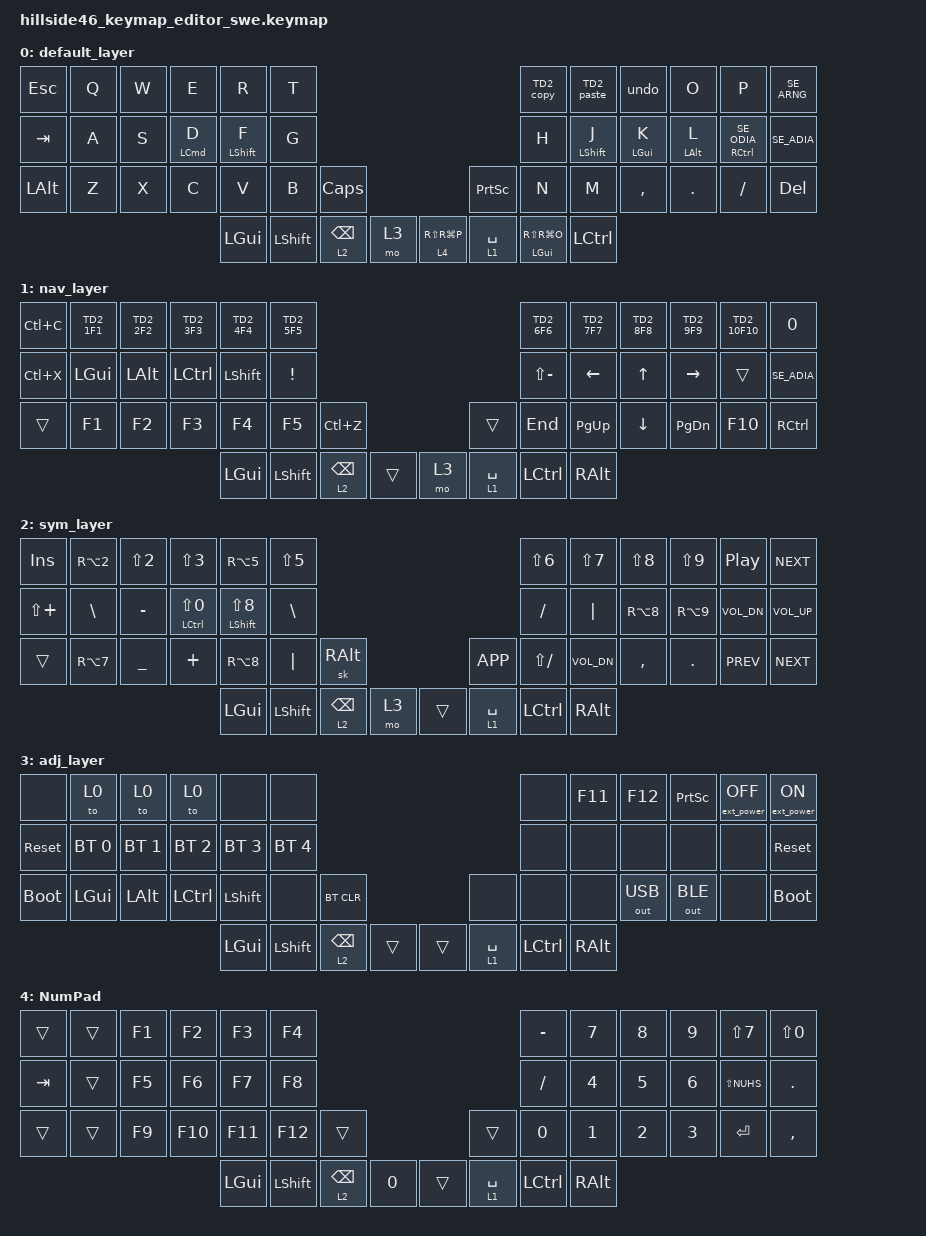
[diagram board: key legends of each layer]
/*
 * Swedish Layout Visualization for Nick Coutsos Keymap Editor
 * 
 * This is a modified version of hillside46.keymap for visualization purposes.
 * It uses Swedish key aliases (SE_ARNG, SE_ODIA, SE_ADIA) so that the web
 * interface shows Swedish key names instead of US key codes.
 * 
 * NOTE: This file is for visualization only. Do not use for building firmware.
 * Use the original config/hillside46.keymap for actual firmware builds.
 * 
 * IMPORTANT: Nick Coutsos Keymap Editor will show "SE_ARNG", "SE_ODIA", "SE_ADIA"
 * instead of "Å", "Ö", "Ä" because it displays the macro names. This is a
 * limitation of the tool. For better visualization, use keymap-drawer instead.
 */

#include "keymap_KP_swe.h"
#include <behaviors.dtsi>
#include <dt-bindings/zmk/bt.h>
#include <dt-bindings/zmk/ext_power.h>
#include <dt-bindings/zmk/keys.h>
#include <dt-bindings/zmk/outputs.h>

#define QWERTY_L 0
#define DVORAK_L 1
#define COLEMK_L 2
#define NAV_L    3
#define SYM_L    4
#define ADJ_L    5
#define SWE_L    6
#define Undo   LC(Z)
#define Cut    LC(X)
#define Copy   LC(C)
#define Paste  LC(V)
#define Redo   LC(Y)

/ {
    combos {
        compatible = "zmk,combos";

        enter {
            bindings = <&kp ENTER>;
            key-positions = <16 19>;
        };

        backspace {
            bindings = <&kp LC(BACKSPACE)>;
            key-positions = <20 15>;
        };

        swe {
            bindings = <&tog 0>;
            key-positions = <41 42>;
        };

        LEFTSHIFT {
            bindings = <&kp BACKSPACE>;
            key-positions = <43 19>;
        };

        sapexecute {
            bindings = <&kp F8>;
            key-positions = <43 23>;
        };

        sapbak {
            bindings = <&kp F3>;
            key-positions = <43 22>;
        };

        PekEnter {
            bindings = <&kp ENTER>;
            key-positions = <19 20>;
        };

        RingBackspace {
            bindings = <&kp LG(BACKSPACE)>;
            key-positions = <20 21>;
        };

        apostrof {
            bindings = <&kp BACKSLASH>;
            key-positions = <6 7>;
        };

        skriv_aa {
            bindings = <&SE_ARNG>;
            key-positions = <11 23>;
        };

        search {
            bindings = <&kp LA(SPACE)>;
            key-positions = <34 35>;
        };

        oo {
            bindings = <&SE_ODIA>;
            key-positions = <7 19>;
        };

        aoo {
            bindings = <&SE_ADIA>;
            key-positions = <8 20>;
        };

        ao {
            bindings = <&SE_ARNG>;
            key-positions = <9 21>;
        };

        LikaMed {
            bindings = <&kp LS(N0)>;
            key-positions = <7 8>;
        };

        minus {
            bindings = <&kp SLASH>;
            key-positions = <18 19>;
        };

        plus {
            bindings = <&kp MINUS>;
            key-positions = <33 32>;
        };

        superW {
            bindings = <&whisper>;
            key-positions = <5 4>;
        };

        superEN {
            bindings = <&whisperEN>;
            key-positions = <4 3>;
        };
    };

    behaviors {
        hm: homerow_mods {
            compatible = "zmk,behavior-hold-tap";
            label = "HOMEROW_MODS";
            #binding-cells = <2>;
            tapping-term-ms = <200>;
            quick-tap-ms = <0>;
            flavor = "tap-preferred";
            bindings = <&kp>, <&kp>;

            require-prior-idle-ms = <100>;
        };

        punkt: punkt {
            compatible = "zmk,behavior-tap-dance";
            label = "PUNKT";
            #binding-cells = <0>;
            bindings = <&kp J>, <&punktSpace>;

            tapping-term-ms = <250>;
        };

        komma: komma {
            compatible = "zmk,behavior-tap-dance";
            label = "KOMMA";
            #binding-cells = <0>;
            bindings = <&kp K>, <&kommaspace>;

            tapping-term-ms = <300>;
        };

        ao: ao {
            compatible = "zmk,behavior-tap-dance";
            label = "AO";
            #binding-cells = <0>;
            bindings = <&kp L>, <&SE_ARNG>;

            tapping-term-ms = <200>;
        };

        TD2_paste: TD2_paste {
            compatible = "zmk,behavior-tap-dance";
            label = "TD2_PASTE";
            #binding-cells = <0>;
            bindings = <&kp U>, <&kp LC(V)>;

            tapping-term-ms = <300>;
        };

        TD2_copy: TD2_copy {
            compatible = "zmk,behavior-tap-dance";
            label = "TD2_COPY";
            #binding-cells = <0>;
            bindings = <&kp Y>, <&kp LC(C)>;

            tapping-term-ms = <300>;
        };

        TD2_1F1: TD2_1F1 {
            compatible = "zmk,behavior-tap-dance";
            label = "TD2_1F1";
            #binding-cells = <0>;
            bindings = <&kp NUMBER_1>, <&kp F1>;

            tapping-term-ms = <200>;
        };

        TD2_2F2: TD2_2F2 {
            compatible = "zmk,behavior-tap-dance";
            label = "TD2_2F2";
            #binding-cells = <0>;
            bindings = <&kp NUMBER_2>, <&kp F2>;

            tapping-term-ms = <200>;
        };

        TD2_3F3: TD2_3F3 {
            compatible = "zmk,behavior-tap-dance";
            label = "TD2_3F3";
            #binding-cells = <0>;
            bindings = <&kp NUMBER_3>, <&kp F3>;

            tapping-term-ms = <200>;
        };

        TD2_4F4: TD2_4F4 {
            compatible = "zmk,behavior-tap-dance";
            label = "TD2_4F4";
            #binding-cells = <0>;
            bindings = <&kp NUMBER_4>, <&kp F4>;

            tapping-term-ms = <200>;
        };

        TD2_5F5: TD2_5F5 {
            compatible = "zmk,behavior-tap-dance";
            label = "TD2_5F5";
            #binding-cells = <0>;
            bindings = <&kp NUMBER_5>, <&kp F5>;

            tapping-term-ms = <200>;
        };

        TD2_6F6: TD2_6F6 {
            compatible = "zmk,behavior-tap-dance";
            label = "TD2_6F6";
            #binding-cells = <0>;
            bindings = <&kp NUMBER_6>, <&kp F6>;

            tapping-term-ms = <200>;
        };

        TD2_7F7: TD2_7F7 {
            compatible = "zmk,behavior-tap-dance";
            label = "TD2_7F7";
            #binding-cells = <0>;
            bindings = <&kp NUMBER_7>, <&kp F7>;

            tapping-term-ms = <200>;
        };

        TD2_8F8: TD2_8F8 {
            compatible = "zmk,behavior-tap-dance";
            label = "TD2_8F8";
            #binding-cells = <0>;
            bindings = <&kp NUMBER_8>, <&kp F8>;

            tapping-term-ms = <200>;
        };

        TD2_9F9: TD2_9F9 {
            compatible = "zmk,behavior-tap-dance";
            label = "TD2_9F9";
            #binding-cells = <0>;
            bindings = <&kp NUMBER_9>, <&kp F9>;

            tapping-term-ms = <200>;
        };

        TD2_10F10: TD2_10F10 {
            compatible = "zmk,behavior-tap-dance";
            label = "TD2_10F10";
            #binding-cells = <0>;
            bindings = <&kp NUMBER_0>, <&kp F10>;

            tapping-term-ms = <200>;
        };

        undo: undo {
            compatible = "zmk,behavior-tap-dance";
            label = "UNDO";
            #binding-cells = <0>;
            bindings = <&kp I>, <&kp LC(Z)>;

            tapping-term-ms = <250>;
        };
    };

    macros {
        copy: copy {
            compatible = "zmk,behavior-macro";
            #binding-cells = <0>;
            bindings = <&kp LC(C)>, <&macro_press>;

            label = "COPY";
        };

        punktSpace: punktSpace {
            compatible = "zmk,behavior-macro";
            #binding-cells = <0>;
            bindings = <&kp PERIOD &kp SPACE>;
            label = "PUNKTSPACE";
        };

        kommaspace: kommaspace {
            compatible = "zmk,behavior-macro";
            #binding-cells = <0>;
            bindings = <&kp COMMA &kp SPACE>;
            label = "KOMMASPACE";
        };

        pastepal: pastepal {
            compatible = "zmk,behavior-macro";
            #binding-cells = <0>;
            bindings = <&macro_press>, <&kp LEFT_GUI &kp LEFT_GUI>;

            label = "PASTEPAL";
        };

        whisper: whisper {
            compatible = "zmk,behavior-macro";
            #binding-cells = <0>;
            bindings = <&trans>;
            label = "WHISPER";
        };

        whisperEN: whisperEN {
            compatible = "zmk,behavior-macro";
            #binding-cells = <0>;
            bindings = <&kp LG(NUMBER_2)>;
            label = "WHISPEREN";
        };
    };

    keymap {
        compatible = "zmk,keymap";

        default_layer {
            /* QWERTY (Swedish Layout) - For visualization in Nick Coutsos Keymap Editor
 * -------------------------------------------------------------------------------------------------------------------------------------
 * | Esc   |   Q   |   W   |   E   |   R   |   T   |-----------------------------------| Copy  | Paste | Undo  |   O   |   P   |   Å   |
 * | TAB   |   A   |   S   |   D   |   F   |   G   |-----------------------------------|   H   |   J   |   K   |   L   |   Ö   |   Ä   |
 * | ALT   |   Z   |   X   |   C   |   V   |   B   | CAPS  |-------------------| PrtSc |   N   |   M   |   ,   |   .   |   /   |  Del  |
 *                                 |  GUI  | Shift | BSPC  |  Nav  |---|  Sym  | SPACE |  GUI  | Ctrl  |
 * Note: SE_ARNG = Å, SE_ODIA = Ö, SE_ADIA = Ä
 */

            bindings = <
&kp ESCAPE    &kp Q  &kp W  &kp E               &kp R             &kp T                                                                  &TD2_copy               &TD2_paste        &undo           &kp O       &kp P                   &SE_ARNG
&kp TAB       &kp A  &kp S  &hm LEFT_COMMAND D  &hm LEFT_SHIFT F  &kp G                                                                  &kp H                   &hm LEFT_SHIFT J  &hm LEFT_GUI K  &hm LALT L  &hm RIGHT_CONTROL SE_ODIA  &SE_ADIA
&kp LEFT_ALT  &kp Z  &kp X  &kp C               &kp V             &kp B      &kp CAPSLOCK                               &kp PRINTSCREEN  &kp N                   &kp M             &kp COMMA       &kp PERIOD  &kp SLASH               &kp DELETE
                                                &kp LGUI          &kp LSHFT  &lt 2 BACKSPACE  &mo 3    &lt 4 RS(RG(P))  &lt 1 SPACE      &hm LEFT_GUI RS(RG(O))  &kp LEFT_CONTROL
            >;
        };

        nav_layer {
            /* NAV (Swedish Layout)
 * -------------------------------------------------------------------------------------------------------------------------------------
 * | Copy  |   1   |   2   |   3   |   4   |   5   |-----------------------------------|   6   |   7   |   8   |   9   |   0   |   0   |
 * | Cut   |  GUI  |  Alt  | Ctrl  | Shift | Paste |-----------------------------------| PgUp  | Left  |  Up   | Down  | Right |   Ä   |
 * |       |  F1   |  F2   |  F3   |  F4   |  F5   | Undo  |-------------------|       |  End  | PgUp  | Down  | PgDn  |  F10  | Ctrl  |
 *                                 |  GUI  | Shift | BSPC  |       | Nav  | Space | Ctrl  |  Alt  |
 */

            bindings = <
&kp Copy  &TD2_1F1  &TD2_2F2  &TD2_3F3   &TD2_4F4   &TD2_5F5                                                  &TD2_6F6          &TD2_7F7       &TD2_8F8  &TD2_9F9         &TD2_10F10  &kp N0
&kp Cut   &kp LGUI  &kp LALT  &kp LCTRL  &kp LSHFT  &kp EXCL                                                  &kp LS(MINUS)     &kp LEFT       &kp UP    &kp RIGHT_ARROW  &trans      &SE_ADIA
&trans    &kp F1    &kp F2    &kp F3     &kp F4     &kp F5     &kp Undo                          &trans       &kp END           &kp PAGE_UP    &kp DOWN  &kp PG_DN        &kp F10     &kp RCTRL
                                         &kp LGUI   &kp LSHFT  &lt 2 BACKSPACE  &trans    &mo 3  &lt 1 SPACE  &kp LEFT_CONTROL  &kp RIGHT_ALT
            >;
        };

        sym_layer {
            /* SYM (Swedish Layout)
 * -------------------------------------------------------------------------------------------------------------------------------------
 * | INS   |   !   |   @   |   #   |   $   |   %   |-----------------------------------|   ^   |   &   |   *   |   (   |   )   | BSPC  |
 * |       |   \   |   -   |   =   |   [   |   ]   |-----------------------------------| HOME  | Shift | Ctrl  | Alt   | Gui   | END   |
 * | Ctrl  |   |   |   _   |   +   |   {   |   }   |SkAltGr|-------------------| MENU  | Mute  | Vol-  | Vol+  | Play  |       | Ctrl  |
 *                                 |       |       |       |  ADJ_L |---|      |       |       |       |
 */

            bindings = <
&kp INS       &kp RA(NUMBER_2)  &kp LS(NUMBER_2)  &kp LS(NUMBER_3)        &kp RA(N5)         &kp LS(N5)                                                    &kp LS(NUMBER_6)  &kp LS(N7)     &kp LS(N8)  &kp LS(N9)  &kp C_PLAY_PAUSE  &kp C_NEXT
&kp LS(PLUS)  &kp BSLH          &kp MINUS         &hm LCTRL LS(NUMBER_0)  &hm LSHIFT LS(N8)  &kp BACKSLASH                                                 &kp SLASH         &kp PIPE       &kp RA(N8)  &kp RA(N9)  &kp C_VOL_DN      &kp C_VOLUME_UP
&trans        &kp RA(N7)        &kp UNDER         &kp PLUS                &kp RA(N8)         &kp PIPE       &sk RALT                          &kp K_APP    &kp LS(SLASH)     &kp C_VOL_DN   &kp COMMA   &kp PERIOD  &kp C_PREV        &kp C_NEXT
                                                                          &kp LGUI           &kp LSHFT      &lt 2 BACKSPACE  &mo 3    &trans  &lt 1 SPACE  &kp LEFT_CONTROL  &kp RIGHT_ALT
            >;
        };

        adj_layer {
            /* ADJUST
 * -------------------------------------------------------------------------------------------------------------------------------------
 * |       | QWERTY| DVORAK| COLEMK|       |       |-----------------------------------|       |  F11  |  F12  |Prt Scr|EP_OFF | EP_ON |
 * | RESET | BT 0  | BT 1  | BT 2  | BT 3  | BT 4  |-----------------------------------|       |       |       |       |       | RESET |
 * |       | LGUI  | LALT  | LCTRL | LSHIFT|       |BT CLR |-------------------|       |       |       |OUT_USB|OUT_BLE|       | BOOTL |
 *                                 |       |       |       |       |---|       |       |       |       |
 */

            bindings = <
&none        &to 0         &to 0         &to 0         &none         &none                                                         &none             &kp F11        &kp F12       &kp PRINTSCREEN  &ext_power EP_OFF  &ext_power EP_ON
&sys_reset   &bt BT_SEL 0  &bt BT_SEL 1  &bt BT_SEL 2  &bt BT_SEL 3  &bt BT_SEL 4                                                  &none             &none          &none         &none            &none              &sys_reset
&bootloader  &kp LGUI      &kp LALT      &kp LCTRL     &kp LSHIFT    &none         &bt BT_CLR                         &none        &none             &none          &out OUT_USB  &out OUT_BLE     &none              &bootloader
                                                       &kp LGUI      &kp LSHFT     &lt 2 BACKSPACE  &trans    &trans  &lt 1 SPACE  &kp LEFT_CONTROL  &kp RIGHT_ALT
            >;
        };

        NumPad {
            bindings = <
&trans   &trans  &kp F1  &kp F2   &kp F3    &kp F4                                                     &kp MINUS         &kp N7         &kp N8  &kp N9  &kp LS(N7)    &kp LS(N0)
&kp TAB  &trans  &kp F5  &kp F6   &kp F7    &kp F8                                                     &kp SLASH         &kp N4         &kp N5  &kp N6  &kp LS(NUHS)  &kp PERIOD
&trans   &trans  &kp F9  &kp F10  &kp F11   &kp F12    &trans                             &trans       &kp N0            &kp N1         &kp N2  &kp N3  &kp RET       &kp COMMA
                                  &kp LGUI  &kp LSHFT  &lt 2 BACKSPACE  &kp N0    &trans  &lt 1 SPACE  &kp LEFT_CONTROL  &kp RIGHT_ALT
            >;
        };
    };
};
